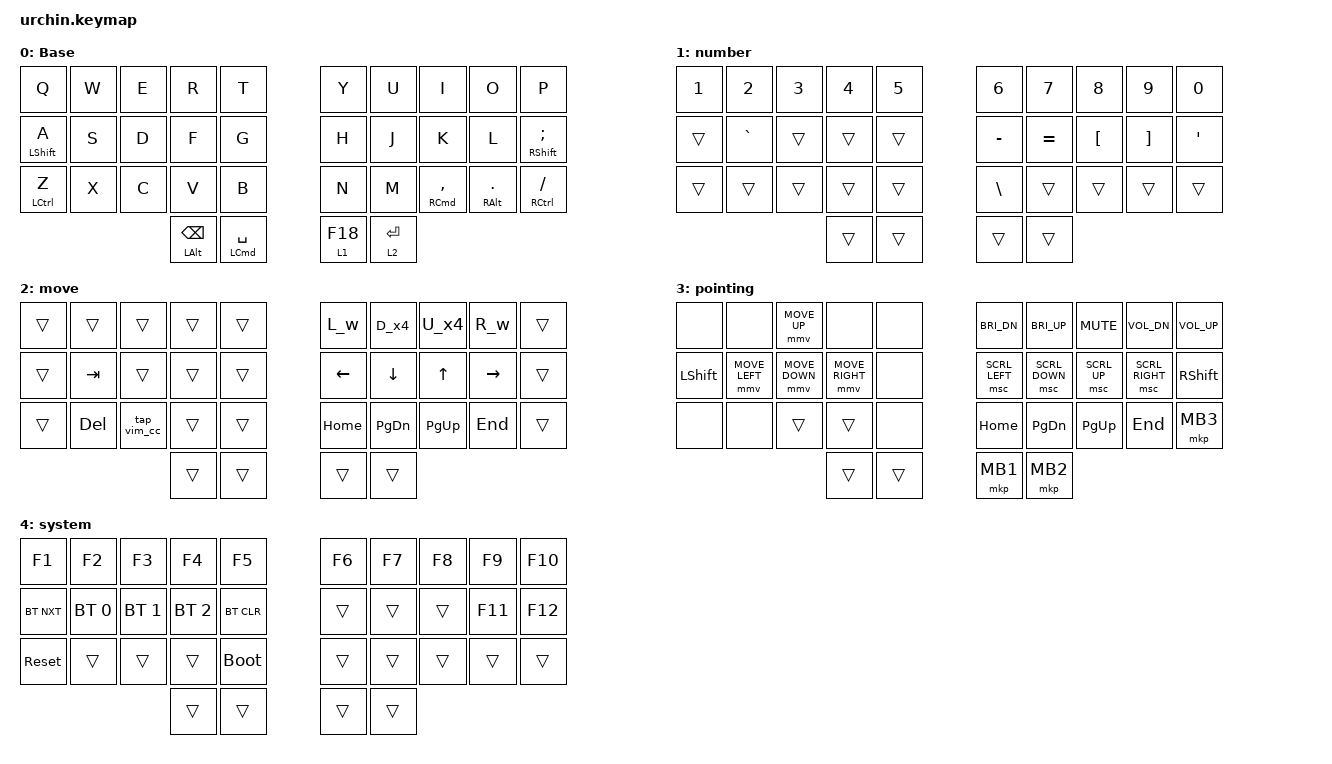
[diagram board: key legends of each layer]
/*
 * Copyright (c) 2020 duckyb
 *
 * SPDX-License-Identifier: MIT
 */

#include "keymap_italian.h"
#include <behaviors.dtsi>
#include <dt-bindings/zmk/bt.h>
#include <dt-bindings/zmk/keys.h>
#include <dt-bindings/zmk/pointing.h>

// Layer definitions

#define BASE 0
#define SYM 1
#define EXT 2
#define FNC 3
#define SYM2 4
#define ACCENT 5
#define SETTINGS 6

// -----------------

&mt { flavor = "tap-preferred"; };

&mmv {
    time-to-max-speed-ms = <150>;
    acceleration-exponent = <1>;
};

/ {
    behaviors {
        ht: hold_tap {
            compatible = "zmk,behavior-hold-tap";
            #binding-cells = <2>;
            flavor = "tap-preferred";
            tapping-term-ms = <220>;
            quick-tap-ms = <150>;
            require-prior-idle-ms = <100>;
            bindings = <&kp>, <&kp>;
        };

        tap_vim_cc: tap_vim_cc {
            compatible = "zmk,behavior-tap-dance";
            label = "TAP_VIM_CC";
            #binding-cells = <0>;
            bindings = <&none>, <&vim_cc>;

            tapping-term-ms = <50>;
        };
    };

    macros {
        // sometimes my device thinks a modifier is being held down
        // pressing all modifiers fixes it.

        L_w: L_W {
            compatible = "zmk,behavior-macro";
            #binding-cells = <0>;
            bindings =
                <&macro_press>,
                <&kp LALT>,
                <&macro_tap>,
                <&kp LEFT>,
                <&macro_release>,
                <&kp LALT>;

            label = "L_W";
        };

        D_x4: D_X4 {
            compatible = "zmk,behavior-macro";
            #binding-cells = <0>;
            bindings = <&kp DOWN &kp DOWN &kp DOWN &kp DOWN>;
            label = "D_X4";
        };

        U_x4: U_X4 {
            compatible = "zmk,behavior-macro";
            #binding-cells = <0>;
            bindings = <&kp UP_ARROW &kp UP_ARROW &kp UP_ARROW &kp UP_ARROW>;
            label = "U_X4";
        };

        R_w: R_W {
            compatible = "zmk,behavior-macro";
            #binding-cells = <0>;
            bindings =
                <&macro_press>,
                <&kp LALT>,
                <&macro_tap>,
                <&kp RIGHT>,
                <&macro_release>,
                <&kp LALT>;

            label = "R_W";
        };

        vim_cb: vim_cb {
            compatible = "zmk,behavior-macro";
            #binding-cells = <0>;
            bindings =
                <&macro_press>,
                <&kp LALT>,
                <&macro_tap>,
                <&kp BACKSPACE>,
                <&macro_release>,
                <&kp LALT>;

            label = "VIM_CB";
        };

        vim_cw: vim_cw {
            compatible = "zmk,behavior-macro";
            #binding-cells = <0>;
            bindings =
                <&macro_press>,
                <&kp LALT>,
                <&macro_tap>,
                <&kp DELETE>,
                <&macro_release>,
                <&kp LALT>;

            label = "VIM_CW";
        };

        vim_cc: vim_cc {
            compatible = "zmk,behavior-macro";
            #binding-cells = <0>;
            bindings =
                <&kp END>,
                <&macro_press>,
                <&kp LSHFT>,
                <&macro_tap>,
                <&kp HOME>,
                <&macro_release>,
                <&kp LSHFT>,
                <&macro_tap>,
                <&kp DELETE>;

            label = "VIM_CC";
        };
    };

    combos {
        compatible = "zmk,combos";

        // both right thumb keys
        // internal-left & external-right thumb keys
        // both left thumb keys
        // left index & middle fingers (home-row)
        // hold control & space for Adobe workflow

        combo_esc {
            bindings = <&kp ESCAPE>;
            key-positions = <16 17>;
        };

        TG4_on {
            bindings = <&tog 3>;
            key-positions = <32 33>;
            layers = <0>;
        };

        TG4_off {
            bindings = <&tog 3>;
            key-positions = <32 33>;
            layers = <3>;
        };

        vim_cw {
            bindings = <&vim_cw>;
            key-positions = <22 1>;
            timeout-ms = <1000>;
            layers = <2>;
        };

        vim_cb {
            bindings = <&vim_cb>;
            key-positions = <22 24>;
            timeout-ms = <1000>;
            layers = <2>;
        };

        mo_system {
            bindings = <&mo 4>;
            key-positions = <19 29>;
        };
    };

    keymap {
        compatible = "zmk,keymap";

        // Base alpha layer

        default_layer {
            label = "Base";
            bindings = <
  &kp Q        &kp W  &kp E  &kp R               &kp T             &kp Y      &kp U        &kp I           &kp O         &kp P
  &mt LSHFT A  &kp S  &kp D  &kp F               &kp G             &kp H      &kp J        &kp K           &kp L         &mt RSHFT SEMICOLON
  &mt LCTRL Z  &kp X  &kp C  &kp V               &kp B             &kp N      &kp M        &mt RCMD COMMA  &mt RALT DOT  &mt RCTRL SLASH
                             &mt LALT BACKSPACE  &mt LCMD SPACE    &lt 1 F18  &lt 2 ENTER
            >;
        };

        number {
            bindings = <
  &kp N1  &kp N2     &kp N3  &kp N4  &kp N5    &kp N6     &kp N7     &kp N8    &kp N9    &kp N0
  &trans  &kp GRAVE  &trans  &trans  &trans    &kp MINUS  &kp EQUAL  &kp LBKT  &kp RBKT  &kp APOS
  &trans  &trans     &trans  &trans  &trans    &kp BSLH   &trans     &trans    &trans    &trans
                             &trans  &trans    &trans     &trans
            >;

            label = "number";
        };

        move {
            bindings = <
  &trans  &trans      &trans       &trans  &trans    &L_w      &D_x4          &U_x4         &R_w       &trans
  &trans  &kp TAB     &trans       &trans  &trans    &kp LEFT  &kp DOWN       &kp UP_ARROW  &kp RIGHT  &trans
  &trans  &kp DELETE  &tap_vim_cc  &trans  &trans    &kp HOME  &kp PAGE_DOWN  &kp PG_UP     &kp END    &trans
                                   &trans  &trans    &trans    &trans
            >;

            label = "move";
        };

        pointing {
            bindings = <
  &none      &none           &mmv MOVE_UP    &none            &none     &kp C_BRI_DN    &kp C_BRI_UP    &kp C_MUTE    &kp C_VOL_DN     &kp C_VOL_UP
  &kp LSHFT  &mmv MOVE_LEFT  &mmv MOVE_DOWN  &mmv MOVE_RIGHT  &none     &msc SCRL_LEFT  &msc SCRL_DOWN  &msc SCRL_UP  &msc SCRL_RIGHT  &kp RSHFT
  &none      &none           &trans          &trans           &none     &kp HOME        &kp PAGE_DOWN   &kp PG_UP     &kp END          &mkp MB3
                                             &trans           &trans    &mkp MB1        &mkp MB2
            >;

            label = "pointing";
        };

        system {
            bindings = <
  &kp F1      &kp F2        &kp F3        &kp F4        &kp F5         &kp F6  &kp F7  &kp F8  &kp F9   &kp F10
  &bt BT_NXT  &bt BT_SEL 0  &bt BT_SEL 1  &bt BT_SEL 2  &bt BT_CLR     &trans  &trans  &trans  &kp F11  &kp F12
  &sys_reset  &trans        &trans        &trans        &bootloader    &trans  &trans  &trans  &trans   &trans
                                          &trans        &trans         &trans  &trans
            >;

            label = "system";
        };

        // Main modifiers and arrow keys
        // Function keys with modifiers
        // Low frequency symbols.
        // Used to type regional accents.
        // Used to change the keyboard's settings.move {};
    };
};
